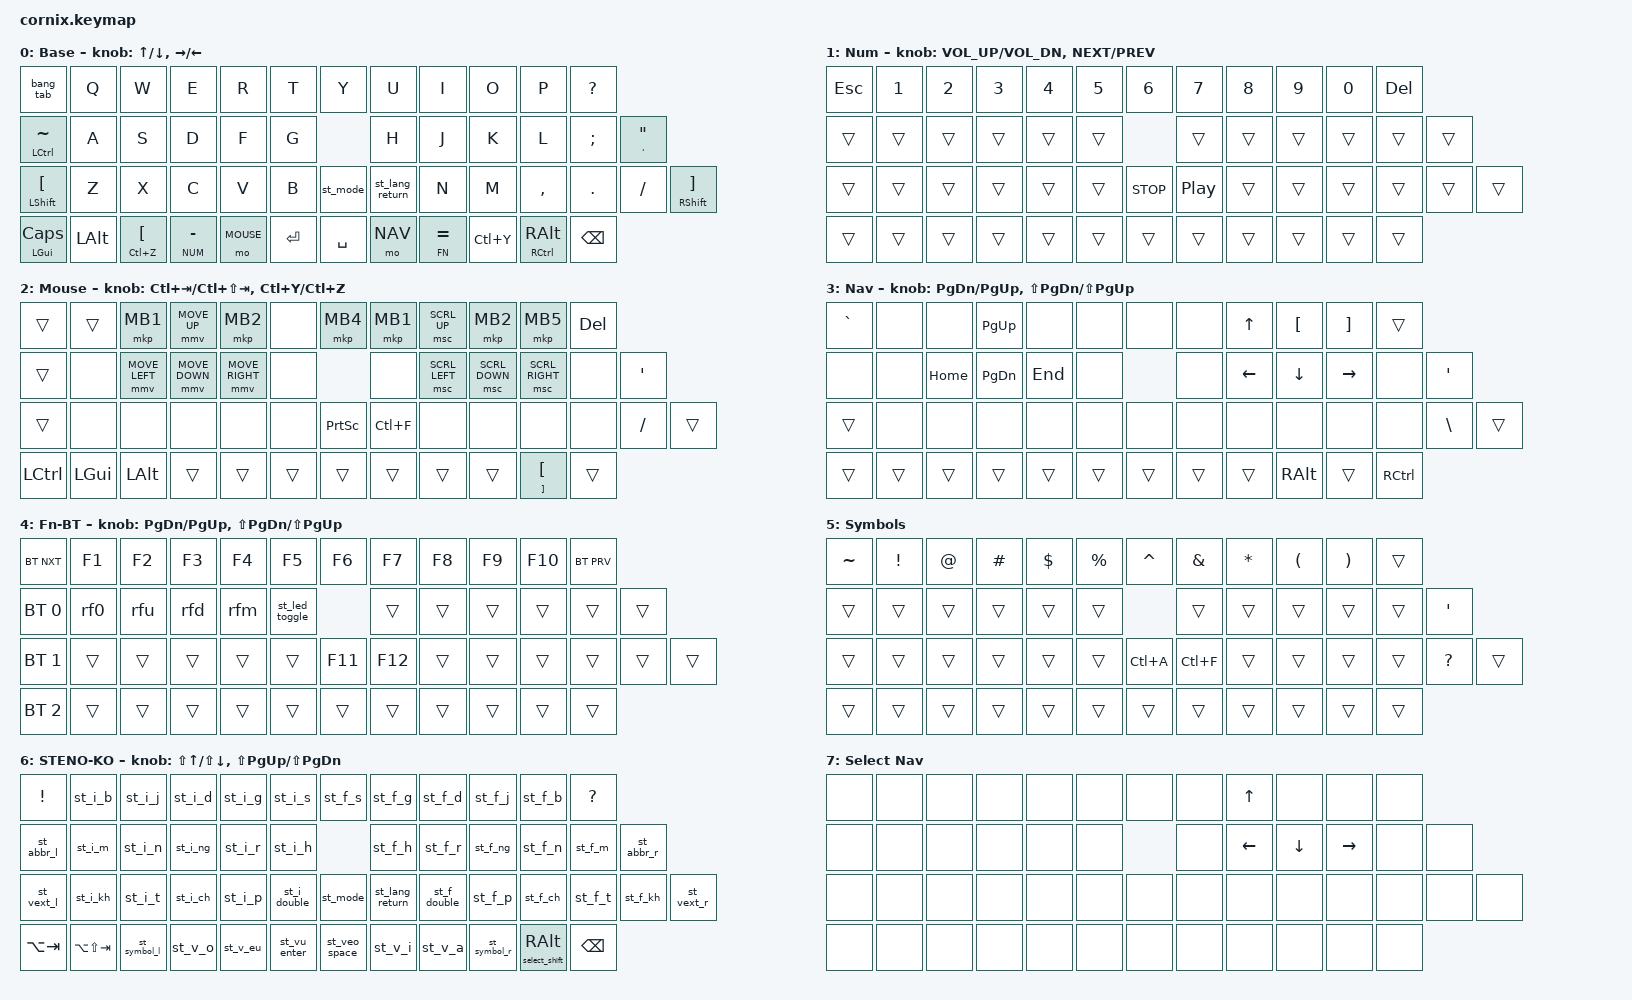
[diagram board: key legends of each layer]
/*
 * Cornix ZMK keymap converted from the user's Vial/RMK backup: "내 코르닉스.vil".
 *
 * Conversion target:
 *   - 8 key layers / 50 physical key positions (Base + STENO + Select Nav)
 *   - 2 encoders per layer
 *   - 12 active combos (old 00+12 grave removed for Ctrl+Tab)
 *   - Base bracket dual-role keys plus the existing tap-vs-hold actions
 *
 * RF and battery settings remain in config/cornix.conf.
 * SPDX-License-Identifier: MIT
 */

#include <behaviors.dtsi>
#include <dt-bindings/zmk/bt.h>
#include <dt-bindings/zmk/keys.h>
#include <dt-bindings/zmk/modifiers.h>
#include <dt-bindings/zmk/pointing.h>
#include <dt-bindings/zmk/cornix_steno.h>

#define BASE    0
#define NUM     1
#define MOUSE   2
#define NAV     3
#define FN      4
#define SYMBOL  5
#define STENO   6
#define SELECT_NAV 7

#include "cornix_steno.dtsi"

/ {
    behaviors {
        /* v2.2.9: STENO position 48 has TWO actions, not plain RAlt.
         * Solo release before the 500ms STENO solo threshold: RAlt once.
         * Timeout or another key pressed while held: original Select Shift.
         * No quick/prior-idle/retro-tap override: a selection release must
         * never cause an unintended RAlt/IME toggle.
         * The first keymap parameter is a dummy 0 for the no-parameter macro.
         */
        st_sel: steno_select_shift_tap {
            compatible = "zmk,behavior-hold-tap";
            #binding-cells = <2>;
            bindings = <&select_shift>, <&kp>;
            flavor = "hold-preferred";
            tapping-term-ms = <500>;
            quick-tap-ms = <0>;
            require-prior-idle-ms = <0>;
            display-name = "STENO Select Shift / RAlt solo 500ms";
        };

        /* v2.2.8: dedicated modifier taps. No flow-tap / quick-tap override:
         * while undecided, any subsequent key press resolves the modifier
         * BEFORE that key is processed (including 00's modifier test).
         */
        mp200: modifier_tap_200 {
            compatible = "zmk,behavior-hold-tap";
            #binding-cells = <2>;
            bindings = <&kp>, <&kp>;
            flavor = "hold-preferred";
            tapping-term-ms = <200>;
            display-name = "Modifier hold / Solo tap 200ms";
        };

        /* Short solo press: !. Hold 200ms: Tab.
         * A Ctrl, Alt or Left GUI already held at key-down bypasses the
         * tap timer and immediately sends Tab WITH the held modifiers.
         * keep-mods is essential: a modifier match must not strip Ctrl/Alt/GUI.
         */
        bang_tab: bang_or_tab {
            compatible = "zmk,behavior-mod-morph";
            #binding-cells = <0>;
            bindings = <&ht200 TAB EXCL>, <&kp TAB>;
            mods = <(MOD_LCTL | MOD_RCTL | MOD_LALT | MOD_RALT | MOD_LGUI)>;
            keep-mods = <(MOD_LCTL | MOD_RCTL | MOD_LALT | MOD_RALT | MOD_LGUI)>;
            display-name = "! tap / Tab hold or Ctrl-Alt-GUI";
        };

        /*
         * QMK/Vial layer-tap approximation:
         * - Tapping Term: 250 ms
         * - Flow Tap: 120 ms (require-prior-idle-ms)
         * - balanced flavor keeps quick layer chords usable.
         *
         * Vial's Chordal Hold cannot be copied bit-for-bit without a
         * hand/position policy, so this is the closest safe general behavior.
         */
        lt250: layer_tap_250 {
            compatible = "zmk,behavior-hold-tap";
            #binding-cells = <2>;
            bindings = <&mo>, <&kp>;
            flavor = "balanced";
            tapping-term-ms = <250>;
            require-prior-idle-ms = <120>;
            display-name = "Layer-Tap 250ms";
        };

        /* Vial tap-dance entries used by this keymap: tap key / hold key. */
        ht300: hold_tap_300 {
            compatible = "zmk,behavior-hold-tap";
            #binding-cells = <2>;
            bindings = <&kp>, <&kp>;
            flavor = "tap-preferred";
            tapping-term-ms = <300>;
            display-name = "Tap-Hold 300ms";
        };

        ht200: hold_tap_200 {
            compatible = "zmk,behavior-hold-tap";
            #binding-cells = <2>;
            bindings = <&kp>, <&kp>;
            flavor = "tap-preferred";
            tapping-term-ms = <200>;
            display-name = "Tap-Hold 200ms";
        };

        ht150: hold_tap_150 {
            compatible = "zmk,behavior-hold-tap";
            #binding-cells = <2>;
            bindings = <&kp>, <&kp>;
            flavor = "tap-preferred";
            tapping-term-ms = <150>;
            display-name = "Tap-Hold 150ms";
        };

        /*
         * Runtime BLE TX power controls.
         * Short labels are intentional: global split behaviors are dispatched
         * to both halves, so compact behavior identifiers are safest.
         *
         * Command values:
         *   0 = decrease, 1 = set 0 dBm, 2 = increase, 3 = set +8 dBm.
         */
        rf0: rf0 {
            compatible = "zmk,behavior-rf-power";
            #binding-cells = <0>;
            command = <1>;
            display-name = "TX 0 dBm";
        };

        rfu: rfu {
            compatible = "zmk,behavior-rf-power";
            #binding-cells = <0>;
            command = <2>;
            display-name = "TX Power +";
        };

        rfd: rfd {
            compatible = "zmk,behavior-rf-power";
            #binding-cells = <0>;
            command = <0>;
            display-name = "TX Power -";
        };

        rfm: rfm {
            compatible = "zmk,behavior-rf-power";
            #binding-cells = <0>;
            command = <3>;
            display-name = "TX MAX +8";
        };
    };

    macros {
        /*
         * Cornix STENO selection key: hold real RShift and temporarily
         * replace physical J/L/K/I with Left/Right/Down/Up.
         */
        select_shift: select_shift {
            compatible = "zmk,behavior-macro";
            #binding-cells = <0>;
            wait-ms = <0>;
            tap-ms = <0>;
            bindings
                = <&macro_press &mo SELECT_NAV &kp RSHIFT>
                , <&macro_pause_for_release>
                , <&macro_release &mo SELECT_NAV &kp RSHIFT>
                ;
        };


        /* BEGIN CORNIX QUICK MACROS (generated from config/steno_quick_text.tsv) */
        /*
         * Standard ZMK macros visible in the Keymap Editor Macros panel.
         * Fixed STENO input masks are dispatched to stable M0..M11 nodes.
         * Edit the bindings in the GUI, or edit steno_quick_text.tsv and rerun
         * tools/update_quick_macro_text.py.
         */
        /* M0: 약어L+ㅡ -> 사구구 */
        quick_0: quick_0 {
            compatible = "zmk,behavior-macro";
            #binding-cells = <0>;
            display-name = "M0 Quick L+EU";
            wait-ms = <40>;
            tap-ms = <40>;
            bindings = <&kp T &kp K &kp R &kp N &kp R &kp N>;
        };

        /* M1: 약어L+ㅗ -> 구서룡 */
        quick_1: quick_1 {
            compatible = "zmk,behavior-macro";
            #binding-cells = <0>;
            display-name = "M1 Quick L+O";
            wait-ms = <40>;
            tap-ms = <40>;
            bindings = <&kp R &kp N &kp T &kp J &kp F &kp Y &kp D>;
        };

        /* M2: 약어L+ㅜ -> 피피쿵 */
        quick_2: quick_2 {
            compatible = "zmk,behavior-macro";
            #binding-cells = <0>;
            display-name = "M2 Quick L+U";
            wait-ms = <40>;
            tap-ms = <40>;
            bindings = <&kp V &kp L &kp V &kp L &kp Z &kp N &kp D>;
        };

        /* M3: 약어R+ㅏ -> 스타라이트 */
        quick_3: quick_3 {
            compatible = "zmk,behavior-macro";
            #binding-cells = <0>;
            display-name = "M3 Quick R+A";
            wait-ms = <40>;
            tap-ms = <40>;
            bindings = <&kp T &kp M &kp X &kp K &kp F &kp K &kp D &kp L &kp X &kp M>;
        };

        /* M4: 약어R+ㅣ -> 유안나 */
        quick_4: quick_4 {
            compatible = "zmk,behavior-macro";
            #binding-cells = <0>;
            display-name = "M4 Quick R+I";
            wait-ms = <40>;
            tap-ms = <40>;
            bindings = <&kp D &kp B &kp D &kp K &kp S &kp S &kp K>;
        };

        /* M5: 약어R+ㅓ -> 유혜나 */
        quick_5: quick_5 {
            compatible = "zmk,behavior-macro";
            #binding-cells = <0>;
            display-name = "M5 Quick R+EO";
            wait-ms = <40>;
            tap-ms = <40>;
            bindings = <&kp D &kp B &kp G &kp LS(P) &kp S &kp K>;
        };

        /* M6: 약어L+ㅏ -> 실험체 */
        quick_6: quick_6 {
            compatible = "zmk,behavior-macro";
            #binding-cells = <0>;
            display-name = "M6 Quick L+A";
            wait-ms = <40>;
            tap-ms = <40>;
            bindings = <&kp T &kp L &kp F &kp G &kp J &kp A &kp C &kp P>;
        };

        /* M7: 약어L+ㅓ -> A 시 */
        quick_7: quick_7 {
            compatible = "zmk,behavior-macro";
            #binding-cells = <0>;
            display-name = "M7 Quick L+EO";
            wait-ms = <80>;
            tap-ms = <40>;
            bindings = <&kp RALT &kp LS(A) &kp SPACE &kp RALT &kp T &kp L>;
        };

        /* M8: 약어L+ㅣ -> W 시 */
        quick_8: quick_8 {
            compatible = "zmk,behavior-macro";
            #binding-cells = <0>;
            display-name = "M8 Quick L+I";
            wait-ms = <80>;
            tap-ms = <40>;
            bindings = <&kp RALT &kp LS(W) &kp SPACE &kp RALT &kp T &kp L>;
        };

        /* M9: 약어R+ㅗ -> 케이지 */
        quick_9: quick_9 {
            compatible = "zmk,behavior-macro";
            #binding-cells = <0>;
            display-name = "M9 Quick R+O";
            wait-ms = <40>;
            tap-ms = <40>;
            bindings = <&kp Z &kp P &kp D &kp L &kp W &kp L>;
        };

        /* M10: 약어R+ㅜ -> 일렉트리스 */
        quick_10: quick_10 {
            compatible = "zmk,behavior-macro";
            #binding-cells = <0>;
            display-name = "M10 Quick R+U";
            wait-ms = <40>;
            tap-ms = <40>;
            bindings = <&kp D &kp L &kp F &kp F &kp P &kp R &kp X &kp M &kp F &kp L &kp T &kp M>;
        };

        /* M11: 약어R+ㅡ -> 마이스터 */
        quick_11: quick_11 {
            compatible = "zmk,behavior-macro";
            #binding-cells = <0>;
            display-name = "M11 Quick R+EU";
            wait-ms = <40>;
            tap-ms = <40>;
            bindings = <&kp A &kp K &kp D &kp L &kp T &kp M &kp X &kp J>;
        };
        /* END CORNIX QUICK MACROS */
    };

    combos {
        compatible = "zmk,combos";

        /* 00+12 is now Ctrl+Tab; do not consume either modifier key. */
        combo_num_1 {
            timeout-ms = <50>;
            key-positions = <1 13>;
            bindings = <&kp N1>;
            layers = <BASE>;
        };
        combo_num_2 {
            timeout-ms = <50>;
            key-positions = <2 14>;
            bindings = <&kp N2>;
            layers = <BASE>;
        };
        combo_num_3 {
            timeout-ms = <50>;
            key-positions = <3 15>;
            bindings = <&kp N3>;
            layers = <BASE>;
        };
        combo_num_4 {
            timeout-ms = <50>;
            key-positions = <4 16>;
            bindings = <&kp N4>;
            layers = <BASE>;
        };
        combo_num_5 {
            timeout-ms = <50>;
            key-positions = <5 17>;
            bindings = <&kp N5>;
            layers = <BASE>;
        };
        combo_num_6 {
            timeout-ms = <50>;
            key-positions = <6 18>;
            bindings = <&kp N6>;
            layers = <BASE>;
        };
        combo_num_7 {
            timeout-ms = <50>;
            key-positions = <7 19>;
            bindings = <&kp N7>;
            layers = <BASE>;
        };
        combo_num_8 {
            timeout-ms = <50>;
            key-positions = <8 20>;
            bindings = <&kp N8>;
            layers = <BASE>;
        };
        combo_num_9 {
            timeout-ms = <50>;
            key-positions = <9 21>;
            bindings = <&kp N9>;
            layers = <BASE>;
        };
        combo_num_0 {
            timeout-ms = <50>;
            key-positions = <10 22>;
            bindings = <&kp N0>;
            layers = <BASE>;
        };

        /* J+K and D+F momentarily open the Symbols layer. */
        combo_symbol_jk {
            timeout-ms = <50>;
            key-positions = <19 20>;
            bindings = <&mo SYMBOL>;
            layers = <BASE NUM FN>;
            slow-release;
        };
        combo_symbol_df {
            timeout-ms = <50>;
            key-positions = <15 16>;
            bindings = <&mo SYMBOL>;
            layers = <BASE NUM FN>;
            slow-release;
        };
    };

    keymap {
        compatible = "zmk,keymap";

        base_layer {
            display-name = "Base";
            bindings = <
                &bang_tab  &kp Q  &kp W  &kp E  &kp R  &kp T  &kp Y  &kp U  &kp I  &kp O  &kp P  &kp QUESTION
                &mp200 LCTRL TILDE  &kp A  &kp S  &kp D  &kp F  &kp G  &kp H  &kp J  &kp K  &kp L  &kp SEMI  &ht300 SQT DQT
                &mp200 LSHIFT LBKT  &kp Z  &kp X  &kp C  &kp V  &kp B  &st_mode  &st_lang_return  &kp N  &kp M  &kp COMMA  &kp DOT  &kp FSLH  &mp200 RSHIFT RBKT
                &mp200 LGUI CAPSLOCK  &kp LALT  &ht200 LC(Z) LBKT  &lt250 NUM MINUS  &mo MOUSE  &kp ENTER  &kp SPACE  &mo NAV  &lt250 FN EQUAL  &kp LC(Y)  &mp200 RCTRL RALT  &kp BSPC
            >;
            sensor-bindings = <&inc_dec_kp UP DOWN  &inc_dec_kp RIGHT LEFT>;
        };

        num_layer {
            display-name = "Num";
            bindings = <
                &kp ESC  &kp N1  &kp N2  &kp N3  &kp N4  &kp N5  &kp N6  &kp N7  &kp N8  &kp N9  &kp N0  &kp DEL
                &trans  &trans  &trans  &trans  &trans  &trans  &trans  &trans  &trans  &trans  &trans  &trans
                &trans  &trans  &trans  &trans  &trans  &trans  &kp C_STOP  &kp C_PLAY_PAUSE  &trans  &trans  &trans  &trans  &trans  &trans
                &trans  &trans  &trans  &trans  &trans  &trans  &trans  &trans  &trans  &trans  &trans  &trans
            >;
            sensor-bindings = <&inc_dec_kp C_VOL_UP C_VOL_DN  &inc_dec_kp C_NEXT C_PREV>;
        };

        mouse_layer {
            display-name = "Mouse";
            bindings = <
                &trans  &trans  &mkp MB1  &mmv MOVE_UP  &mkp MB2  &none  &mkp MB4  &mkp MB1  &msc SCRL_UP  &mkp MB2  &mkp MB5  &kp DEL
                &trans  &none  &mmv MOVE_LEFT  &mmv MOVE_DOWN  &mmv MOVE_RIGHT  &none  &none  &msc SCRL_LEFT  &msc SCRL_DOWN  &msc SCRL_RIGHT  &none  &kp SQT
                &trans  &none  &none  &none  &none  &none  &kp PSCRN  &kp LC(F)  &none  &none  &none  &none  &kp FSLH  &trans
                &kp LCTRL  &kp LGUI  &kp LALT  &trans  &trans  &trans  &trans  &trans  &trans  &trans  &ht150 RBKT LBKT  &trans
            >;
            sensor-bindings = <&inc_dec_kp LC(TAB) LC(LS(TAB))  &inc_dec_kp LC(Y) LC(Z)>;
        };

        nav_layer {
            display-name = "Nav";
            bindings = <
                &kp GRAVE  &none  &none  &kp PG_UP  &none  &none  &none  &none  &kp UP  &kp LBKT  &kp RBKT  &trans
                &none  &none  &kp HOME  &kp PG_DN  &kp END  &none  &none  &kp LEFT  &kp DOWN  &kp RIGHT  &none  &kp SQT
                &trans  &none  &none  &none  &none  &none  &none  &none  &none  &none  &none  &none  &kp BSLH  &trans
                &trans  &trans  &trans  &trans  &trans  &trans  &trans  &trans  &trans  &kp RALT  &trans  &kp RCTRL
            >;
            sensor-bindings = <&inc_dec_kp PG_DN PG_UP  &inc_dec_kp LS(PG_DN) LS(PG_UP)>;
        };

        fn_layer {
            display-name = "Fn-BT";
            bindings = <
                &bt BT_NXT  &kp F1  &kp F2  &kp F3  &kp F4  &kp F5  &kp F6  &kp F7  &kp F8  &kp F9  &kp F10  &bt BT_PRV
                &bt BT_SEL 0  &rf0  &rfu  &rfd  &rfm  &st_led_toggle  &trans  &trans  &trans  &trans  &trans  &trans
                &bt BT_SEL 1  &trans  &trans  &trans  &trans  &trans  &kp F11  &kp F12  &trans  &trans  &trans  &trans  &trans  &trans
                &bt BT_SEL 2  &trans  &trans  &trans  &trans  &trans  &trans  &trans  &trans  &trans  &trans  &trans
            >;
            sensor-bindings = <&inc_dec_kp PG_DN PG_UP  &inc_dec_kp LS(PG_DN) LS(PG_UP)>;
        };

        symbol_layer {
            display-name = "Symbols";
            bindings = <
                &kp TILDE  &kp EXCL  &kp AT  &kp HASH  &kp DLLR  &kp PRCNT  &kp CARET  &kp AMPS  &kp ASTERISK  &kp LPAR  &kp RPAR  &trans
                &trans  &trans  &trans  &trans  &trans  &trans  &trans  &trans  &trans  &trans  &trans  &kp SQT
                &trans  &trans  &trans  &trans  &trans  &trans  &kp LC(A)  &kp LC(F)  &trans  &trans  &trans  &trans  &kp QUESTION  &trans
                &trans  &trans  &trans  &trans  &trans  &trans  &trans  &trans  &trans  &trans  &trans  &trans
            >;
        };


        /*
         * Cornix STENO v2.0 two-set-consonant layout + 43 canonical exact-mask
         * abbreviations and 12 GUI-editable quick macros. Physical convenience keys are outside the logical
         * abbreviation role mask.
         */
        steno_layer {
            display-name = "STENO-KO";
            bindings = <
                &kp EXCL  &st_i_b  &st_i_j  &st_i_d  &st_i_g  &st_i_s  &st_f_s  &st_f_g  &st_f_d  &st_f_j  &st_f_b  &kp QUESTION
                &st_abbr_l  &st_i_m  &st_i_n  &st_i_ng  &st_i_r  &st_i_h  &st_f_h  &st_f_r  &st_f_ng  &st_f_n  &st_f_m  &st_abbr_r
                &st_vext_l  &st_i_kh  &st_i_t  &st_i_ch  &st_i_p  &st_i_double  &st_mode  &st_lang_return  &st_f_double  &st_f_p  &st_f_ch  &st_f_t  &st_f_kh  &st_vext_r
                &kp LA(TAB)  &kp LA(LS(TAB))  &st_symbol_l  &st_v_o  &st_v_eu  &st_vu_enter  &st_veo_space  &st_v_i  &st_v_a  &st_symbol_r  &st_sel 0 RALT  &kp BSPC
            >;
            sensor-bindings = <&st_enc LS(UP) LS(DOWN)  &st_enc LS(PG_UP) LS(PG_DN)>;
        };

        /*
         * Activated only while the dedicated right-hand Select Shift key is
         * held. Other positions are blocked so no STENO role leaks into a
         * selection gesture.
         */
        select_nav_layer {
            display-name = "Select Nav";
            bindings = <
                &none  &none  &none  &none  &none  &none  &none  &none  &kp UP  &none  &none  &none
                &none  &none  &none  &none  &none  &none  &none  &kp LEFT  &kp DOWN  &kp RIGHT  &none  &none
                &none  &none  &none  &none  &none  &none  &none  &none  &none  &none  &none  &none  &none  &none
                &none  &none  &none  &none  &none  &none  &none  &none  &none  &none  &none  &none
            >;
        };
    };
};
